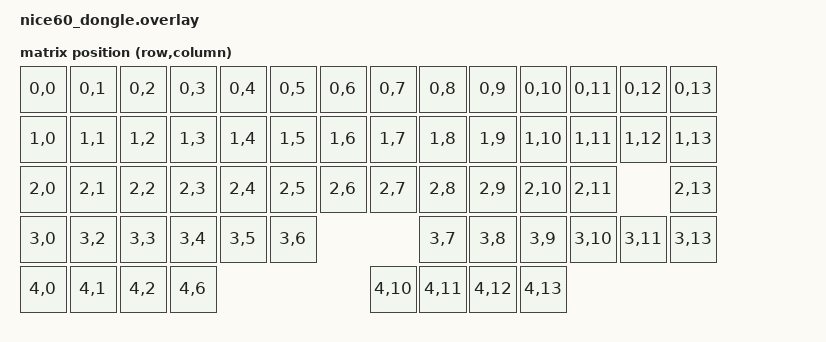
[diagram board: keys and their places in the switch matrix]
/*
 * Copyright (c) 2024
 * SPDX-License-Identifier: MIT
 *
 * nice!60 동글 쉴드 오버레이
 * ─────────────────────────────────────────────────────────────
 * nice!nano v2 (nice_nano/nrf52840/zmk) 을 central로 설정.
 * 동글은 실제 키 스위치가 없으므로 mock_kscan을 사용한다.
 * 매트릭스 트랜스폼은 nice!60 board DTS의 ANSI 기본 레이아웃과
 * 동일한 구조여야 peripheral이 보내는 키 위치 인덱스와 일치한다.
 *
 * ★ 주의: 키 배치가 이상하면 ZMK 소스의 nice60 board DTS 내
 *   keymap_transform_0 과 대조하여 이 파일의 map을 수정할 것.
 *   (zmk/app/boards/nicekeyboards/nice60/ 디렉토리)
 * ─────────────────────────────────────────────────────────────
 */

#include <dt-bindings/zmk/matrix_transform.h>

/ {
    chosen {
        zmk,kscan = &mock_kscan;
        zmk,physical-layout = &physical_layout0;
    };

    /* 동글에는 실제 키가 없으므로 빈 mock kscan 사용 */
    mock_kscan: mock_kscan_0 {
        compatible = "zmk,kscan-mock";
        columns = <0>;
        rows = <0>;
        events = <0>;
    };

    /*
     * nice!60 ANSI 표준 레이아웃 매트릭스 트랜스폼
     * 총 61키 = 14 + 14 + 13 + 12 + 8
     *
     * Row 0 (14): ESC  1    2    3    4    5    6    7    8    9    0    -    =    BKSP
     * Row 1 (14): TAB  Q    W    E    R    T    Y    U    I    O    P    [    ]    |
     * Row 2 (13): FN   A    S    D    F    G    H    J    K    L    ;    '         ENT
     * Row 3 (12): SHFT      Z    X    C    V    B    N    M    ,    .    /         SHFT
     * Row 4 ( 8): CTL  ALT  GUI            SPC            ALT  GUI  CTL  FN
     *
     * ※ Row 2 col 12: ISO Enter용 빈칸 (ANSI 미사용)
     * ※ Row 3 col  1: 2.25u 좌 Shift 확장 영역 (미사용)
     * ※ Row 3 col 12: Split 우 Shift 선택 영역 (미사용)
     * ※ Row 4 col 3~5, 7~9: 6.25u Spacebar 확장 영역 (미사용)
     */
    default_transform: keymap_transform_0 {
        compatible = "zmk,matrix-transform";
        columns = <14>;
        rows = <5>;
        map = <
            RC(0,0)  RC(0,1)  RC(0,2)  RC(0,3)  RC(0,4)  RC(0,5)  RC(0,6)  RC(0,7)  RC(0,8)  RC(0,9)  RC(0,10) RC(0,11) RC(0,12) RC(0,13)
            RC(1,0)  RC(1,1)  RC(1,2)  RC(1,3)  RC(1,4)  RC(1,5)  RC(1,6)  RC(1,7)  RC(1,8)  RC(1,9)  RC(1,10) RC(1,11) RC(1,12) RC(1,13)
            RC(2,0)  RC(2,1)  RC(2,2)  RC(2,3)  RC(2,4)  RC(2,5)  RC(2,6)  RC(2,7)  RC(2,8)  RC(2,9)  RC(2,10) RC(2,11)           RC(2,13)
            RC(3,0)           RC(3,2)  RC(3,3)  RC(3,4)  RC(3,5)  RC(3,6)  RC(3,7)  RC(3,8)  RC(3,9)  RC(3,10) RC(3,11)           RC(3,13)
            RC(4,0)  RC(4,1)  RC(4,2)                    RC(4,6)            RC(4,10) RC(4,11) RC(4,12) RC(4,13)
        >;
    };

    physical_layout0: physical_layout_0 {
        compatible = "zmk,physical-layout";
        display-name = "ANSI";
        transform = <&default_transform>;
        kscan = <&mock_kscan>;
    };
};
